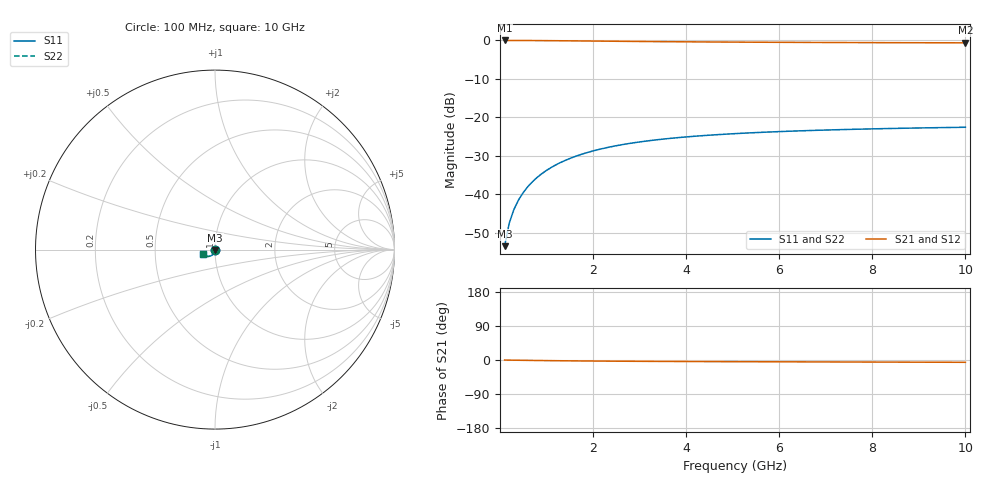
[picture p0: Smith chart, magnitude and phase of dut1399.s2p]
! Touchstone file exported from HFSS 2024.1.0
!  File:  C:/UserFiles/LocalFiles/RDL_TSV_Batchsim/temp_TSV1_1399_1780382152.aedt
!  Generated:  02:40:10 PM Jun  2, 2026
!  Design:  TSV1
!  Project:  temp_TSV1_1399_1780382152
!  Setup:  Setup1
!  Solution:  Sweep
! Variables:
!  dtsv = 14.16um
!  hbump = 3um
!  htsv = 93.2um
!  lrdl = 252.1521522um
!  p = 40
!  p1 = 47.61um
!  t = 500um
!  trdl = 3um
!  wrdl = 24.89489489um
# GHz S MA R 50.000000
! Terminal data exported
! Port[1] = TSV22_T1
! Port[2] = TSV22_T2
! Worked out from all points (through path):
!   100 points, 100 MHz to 10 GHz, reference 50 ohm
!   highest |S21| = 0.00 dB at 100 MHz (marker M1); lowest = -0.6 dB at 10 GHz (marker M2)
!   lowest |S11| = -53.5 dB at 100 MHz (marker M3), VSWR 1.00, Z = 50 - j0.212 ohm
!   |S11| at or under -10 dB: start of sweep to end of sweep
!   |S22| runs from -53.5 to -22.6 dB; largest |S21 - S12| = 4.3e-15
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0.1  0.00212 -89.1  0.9998 -0.2  0.9998 -0.2  0.00212 -89.1
! Gamma 0 0 0 0
! Port Impedance 50 0 50 0
0.2  0.004239 -91.9  0.9996 -0.3  0.9996 -0.3  0.004239 -91.9
0.3  0.006356 -93.9  0.9993 -0.5  0.9993 -0.5  0.006356 -93.9
0.4  0.008461 -95.7  0.9989 -0.7  0.9989 -0.7  0.008461 -95.7
0.5  0.01055 -97.5  0.9983 -0.8  0.9983 -0.8  0.01055 -97.5
0.6  0.0126 -99.2  0.9977 -1.0  0.9977 -1.0  0.0126 -99.2
0.7  0.01463 -100.9  0.9969 -1.1  0.9969 -1.1  0.01463 -100.9
0.8  0.01662 -102.6  0.9961 -1.3  0.9961 -1.3  0.01662 -102.6
0.9  0.01856 -104.2  0.9952 -1.4  0.9952 -1.4  0.01856 -104.2
1.1  0.02232 -107.3  0.9932 -1.7  0.9932 -1.7  0.02232 -107.3
1.4  0.02757 -111.7  0.9897 -2.1  0.9897 -2.1  0.02757 -111.7
1.6  0.03081 -114.4  0.9873 -2.3  0.9873 -2.3  0.03081 -114.4
1.8  0.03384 -117.0  0.9847 -2.5  0.9847 -2.5  0.03384 -117.0
2.1  0.03799 -120.6  0.9809 -2.8  0.9809 -2.8  0.03799 -120.6
2.5  0.04284 -124.9  0.9759 -3.1  0.9759 -3.1  0.04284 -124.9
2.9  0.04701 -128.7  0.9711 -3.4  0.9711 -3.4  0.04701 -128.7
3.4  0.05141 -132.9  0.9656 -3.7  0.9656 -3.7  0.05141 -132.9
4.2  0.05699 -138.4  0.9582 -4.1  0.9582 -4.1  0.05699 -138.4
5.1  0.06173 -143.3  0.9513 -4.4  0.9513 -4.4  0.06173 -143.3
6.7  0.06763 -149.9  0.9424 -5.0  0.9424 -5.0  0.06763 -149.9
8.4  0.07176 -155.0  0.9358 -5.6  0.9358 -5.6  0.07176 -155.0
10  0.07444 -158.7  0.9314 -6.1  0.9314 -6.1  0.07444 -158.7
